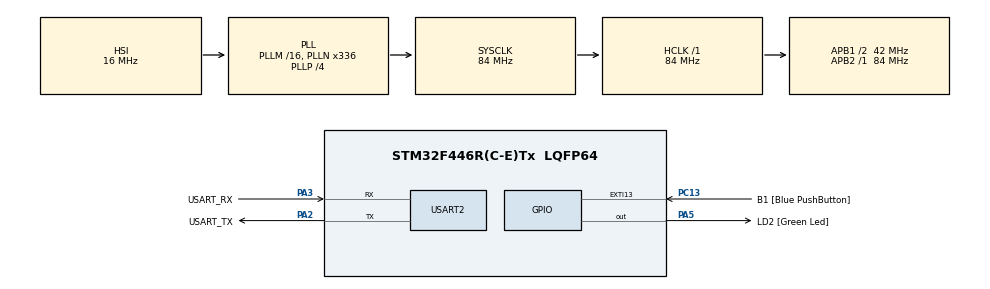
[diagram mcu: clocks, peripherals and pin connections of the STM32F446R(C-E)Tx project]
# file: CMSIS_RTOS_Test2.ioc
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FREERTOS.Tasks01=defaultTask,24,128,StartDefaultTask,Default,NULL,Dynamic,NULL,NULL
FREERTOS.configENABLE_FPU=1
Mcu.Family=STM32F4
Mcu.Name=STM32F446R(C-E)Tx
Mcu.Package=LQFP64
NVIC.PriorityGroup=NVIC_PRIORITYGROUP_4
NVIC.TIM1_UP_TIM10_IRQn=true\:0\:0\:false\:false\:true\:false\:false\:true
NVIC.TimeBase=TIM1_UP_TIM10_IRQn
NVIC.TimeBaseIP=TIM1
PA13.GPIO_Label=TMS
PA13.Mode=Serial_Wire
PA13.Signal=SYS_JTMS-SWDIO
PA14.GPIO_Label=TCK
PA14.Mode=Serial_Wire
PA14.Signal=SYS_JTCK-SWCLK
PA2.GPIO_Label=USART_TX
PA2.Mode=Asynchronous
PA2.Signal=USART2_TX
PA3.GPIO_Label=USART_RX
PA3.Mode=Asynchronous
PA3.Signal=USART2_RX
PA5.GPIO_Label=LD2 [Green Led]
PA5.Signal=GPIO_Output
PB3.GPIO_Label=SWO
PB3.Signal=SYS_JTDO-SWO
PC13.GPIO_Label=B1 [Blue PushButton]
PC13.GPIO_ModeDefaultEXTI=GPIO_MODE_IT_FALLING
PC13.Signal=GPXTI13
PC14-OSC32_IN.Mode=LSE-External-Oscillator
PC14-OSC32_IN.Signal=RCC_OSC32_IN
PC15-OSC32_OUT.Mode=LSE-External-Oscillator
PC15-OSC32_OUT.Signal=RCC_OSC32_OUT
PH0-OSC_IN.Mode=HSE-External-Oscillator
PH0-OSC_IN.Signal=RCC_OSC_IN
PH1-OSC_OUT.Mode=HSE-External-Oscillator
PH1-OSC_OUT.Signal=RCC_OSC_OUT
ProjectManager.HeapSize=0x200
ProjectManager.StackSize=0x400
ProjectManager.TargetToolchain=STM32CubeIDE
RCC.48MHZClocksFreq_Value=84000000
RCC.AHBFreq_Value=84000000
RCC.APB1CLKDivider=RCC_HCLK_DIV2
RCC.APB1Freq_Value=42000000
RCC.APB1TimFreq_Value=84000000
RCC.APB2Freq_Value=84000000
RCC.APB2TimFreq_Value=84000000
RCC.CortexFreq_Value=84000000
RCC.FLatency-AdvancedSettings=FLASH_LATENCY_2
RCC.HCLKFreq_Value=84000000
RCC.HSE_VALUE=8000000
RCC.HSI_VALUE=16000000
RCC.PLLN=336
RCC.PLLP=RCC_PLLP_DIV4
RCC.SYSCLKFreq_VALUE=84000000
RCC.SYSCLKSource=RCC_SYSCLKSOURCE_PLLCLK
RCC.USBFreq_Value=168000000
RCC.VCOOutputFreq_Value=336000000
USART2.VirtualMode=VM_ASYNC
VP_FREERTOS_VS_CMSIS_V2.Mode=CMSIS_V2
VP_SYS_VS_tim1.Mode=TIM1
board=NUCLEO-F446RE

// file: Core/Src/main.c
/* USER CODE BEGIN Header */
/**
  ******************************************************************************
  * @file           : main.c
  * @brief          : Main program body
  ******************************************************************************
  * @attention
  *
  * <h2><center>&copy; Copyright (c) 2021 STMicroelectronics.
  * All rights reserved.</center></h2>
  *
  * This software component is licensed by ST under BSD 3-Clause license,
  * the "License"; You may not use this file except in compliance with the
  * License. You may obtain a copy of the License at:
  *                        opensource.org/licenses/BSD-3-Clause
  *
  ******************************************************************************
  */
/* USER CODE END Header */
#include "main.h"
#include "cmsis_os.h"

/* USER CODE BEGIN Includes */
#include <string.h>
/* USER CODE END Includes */

UART_HandleTypeDef huart2;

/* Definitions for defaultTask */
osThreadId_t defaultTaskHandle;
const osThreadAttr_t defaultTask_attributes = {
  .name = "defaultTask",
  .priority = (osPriority_t) osPriorityNormal,
  .stack_size = 128 * 4
};
/* Definitions for myTask01 */
osThreadId_t myTask01Handle;
const osThreadAttr_t myTask01_attributes = {
  .name = "myTask01",
  .priority = (osPriority_t) osPriorityLow,
  .stack_size = 128 * 4
};
/* USER CODE BEGIN PV */
/* Definitions for myTask02 */
osThreadId_t myTask02Handle;
const osThreadAttr_t myTask02_attributes = {
  .name = "myTask02",
  .priority = (osPriority_t) osPriorityLow,
  .stack_size = 128 * 4
};

/* USER CODE BEGIN PV */

/* USER CODE END PV */

void SystemClock_Config(void);
static void MX_GPIO_Init(void);
static void MX_USART2_UART_Init(void);
void StartDefaultTask(void *argument);
void StartTask01(void *argument);
void StartTask02(void *argument);

int main(void)
{
  /* USER CODE BEGIN 1 */
  DWT->CTRL |= (0x1 << 0);

  /* USER CODE END 1 */

  /* MCU Configuration--------------------------------------------------------*/

  /* Reset of all peripherals, Initializes the Flash interface and the Systick. */
  HAL_Init();

  /* Configure the system clock */
  SystemClock_Config();

  /* Initialize all configured peripherals */
  MX_GPIO_Init();
  MX_USART2_UART_Init();
  /* USER CODE BEGIN 2 */
  SEGGER_SYSVIEW_Conf();
  SEGGER_SYSVIEW_Start();

  /* USER CODE END 2 */

  /* Init scheduler */
  osKernelInitialize();

  /* Create the thread(s) */
  /* creation of defaultTask */
  defaultTaskHandle = osThreadNew(StartDefaultTask, NULL, &defaultTask_attributes);

  /* USER CODE BEGIN RTOS_THREADS */
  /* add threads, ... */
  myTask01Handle = osThreadNew(StartTask01, (void*) "Hello World 1\n\r", &myTask01_attributes);
  myTask02Handle = osThreadNew(StartTask02, (void*) "World 2\n\r", &myTask02_attributes);
  /* USER CODE END RTOS_THREADS */

  /* Start scheduler */
  osKernelStart();

  /* We should never get here as control is now taken by the scheduler */
  /* Infinite loop */
  while (1)
  {

  }
}

void SystemClock_Config(void)
{
  RCC_OscInitTypeDef RCC_OscInitStruct = {0};
  RCC_ClkInitTypeDef RCC_ClkInitStruct = {0};

  /** Configure the main internal regulator output voltage
  */
  __HAL_RCC_PWR_CLK_ENABLE();
  __HAL_PWR_VOLTAGESCALING_CONFIG(PWR_REGULATOR_VOLTAGE_SCALE3);
  /** Initializes the RCC Oscillators according to the specified parameters
  * in the RCC_OscInitTypeDef structure.
  */
  RCC_OscInitStruct.OscillatorType = RCC_OSCILLATORTYPE_HSI;
  RCC_OscInitStruct.HSIState = RCC_HSI_ON;
  RCC_OscInitStruct.HSICalibrationValue = RCC_HSICALIBRATION_DEFAULT;
  RCC_OscInitStruct.PLL.PLLState = RCC_PLL_ON;
  RCC_OscInitStruct.PLL.PLLSource = RCC_PLLSOURCE_HSI;
  RCC_OscInitStruct.PLL.PLLM = 16;
  RCC_OscInitStruct.PLL.PLLN = 336;
  RCC_OscInitStruct.PLL.PLLP = RCC_PLLP_DIV4;
  RCC_OscInitStruct.PLL.PLLQ = 2;
  RCC_OscInitStruct.PLL.PLLR = 2;
  if (HAL_RCC_OscConfig(&RCC_OscInitStruct) != HAL_OK)
  {
    Error_Handler();
  }
  /** Initializes the CPU, AHB and APB buses clocks
  */
  RCC_ClkInitStruct.ClockType = RCC_CLOCKTYPE_HCLK|RCC_CLOCKTYPE_SYSCLK
                              |RCC_CLOCKTYPE_PCLK1|RCC_CLOCKTYPE_PCLK2;
  RCC_ClkInitStruct.SYSCLKSource = RCC_SYSCLKSOURCE_PLLCLK;
  RCC_ClkInitStruct.AHBCLKDivider = RCC_SYSCLK_DIV1;
  RCC_ClkInitStruct.APB1CLKDivider = RCC_HCLK_DIV2;
  RCC_ClkInitStruct.APB2CLKDivider = RCC_HCLK_DIV1;

  if (HAL_RCC_ClockConfig(&RCC_ClkInitStruct, FLASH_LATENCY_2) != HAL_OK)
  {
    Error_Handler();
  }
}

static void MX_USART2_UART_Init(void)
{

  huart2.Instance = USART2;
  huart2.Init.BaudRate = 9600;
  huart2.Init.WordLength = UART_WORDLENGTH_8B;
  huart2.Init.StopBits = UART_STOPBITS_1;
  huart2.Init.Parity = UART_PARITY_NONE;
  huart2.Init.Mode = UART_MODE_TX_RX;
  huart2.Init.HwFlowCtl = UART_HWCONTROL_NONE;
  huart2.Init.OverSampling = UART_OVERSAMPLING_16;
  if (HAL_UART_Init(&huart2) != HAL_OK)
  {
    Error_Handler();
  }

}

static void MX_GPIO_Init(void)
{
  GPIO_InitTypeDef GPIO_InitStruct = {0};

  /* GPIO Ports Clock Enable */
  __HAL_RCC_GPIOC_CLK_ENABLE();
  __HAL_RCC_GPIOH_CLK_ENABLE();
  __HAL_RCC_GPIOA_CLK_ENABLE();
  __HAL_RCC_GPIOB_CLK_ENABLE();

  /*Configure GPIO pin Output Level */
  HAL_GPIO_WritePin(LD2_GPIO_Port, LD2_Pin, GPIO_PIN_RESET);

  /*Configure GPIO pin : B1_Pin */
  GPIO_InitStruct.Pin = B1_Pin;
  GPIO_InitStruct.Mode = GPIO_MODE_IT_FALLING;
  GPIO_InitStruct.Pull = GPIO_NOPULL;
  HAL_GPIO_Init(B1_GPIO_Port, &GPIO_InitStruct);

  /*Configure GPIO pin : LD2_Pin */
  GPIO_InitStruct.Pin = LD2_Pin;
  GPIO_InitStruct.Mode = GPIO_MODE_OUTPUT_PP;
  GPIO_InitStruct.Pull = GPIO_NOPULL;
  GPIO_InitStruct.Speed = GPIO_SPEED_FREQ_LOW;
  HAL_GPIO_Init(LD2_GPIO_Port, &GPIO_InitStruct);

}

/* USER CODE BEGIN 4 */
/* USER CODE BEGIN Header_StartTask01 */
/**
* @brief Function implementing the myTask01 thread.
* @param argument: Not used
* @retval None
*/
/* USER CODE END Header_StartTask01 */
void StartTask01(void *argument)
{
  /* USER CODE BEGIN StartTask01 */
  /* Infinite loop */
  for(;;)
  {
	  HAL_UART_Transmit(&huart2, (uint8_t *)argument, strlen((char *)argument), HAL_MAX_DELAY);
	 // taskYIELD();
	 // printf((char *)argument);
  }
  /* USER CODE END StartTask01 */
}

void StartTask02(void *argument)
{
  /* USER CODE BEGIN StartTask01 */
  /* Infinite loop */
  for(;;)
  {
	  HAL_UART_Transmit(&huart2, (uint8_t *)argument, strlen((char *)argument), HAL_MAX_DELAY);
	 // taskYIELD();
	  //printf((char *)argument);
  }
  /* USER CODE END StartTask01 */
}

/* USER CODE END 4 */

void StartDefaultTask(void *argument)
{
  for(;;)
  {
  }
}

void HAL_TIM_PeriodElapsedCallback(TIM_HandleTypeDef *htim)
{
  if (htim->Instance == TIM1) {
    HAL_IncTick();
  }
}

void Error_Handler(void)
{
}

/************************ (C) COPYRIGHT STMicroelectronics *****END OF FILE****/
